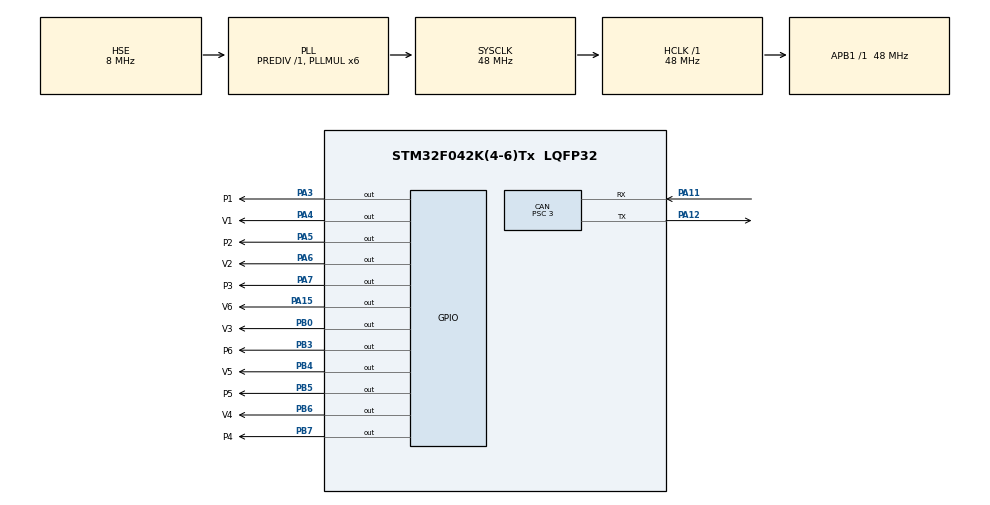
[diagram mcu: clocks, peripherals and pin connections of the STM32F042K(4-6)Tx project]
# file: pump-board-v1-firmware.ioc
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CAN.BS1=CAN_BS1_13TQ
CAN.BS2=CAN_BS2_2TQ
CAN.CalculateTimeQuantum=62.5
CAN.NART=ENABLE
CAN.Prescaler=3
CAN.RFLM=ENABLE
CAN.TXFP=ENABLE
Mcu.Family=STM32F0
Mcu.Name=STM32F042K(4-6)Tx
Mcu.Package=LQFP32
NVIC.CEC_CAN_IRQn=true\:0\:0\:false\:false\:true\:true\:true
PA11.Mode=Master
PA11.Signal=CAN_RX
PA12.Mode=Master
PA12.Signal=CAN_TX
PA13.Mode=Serial_Wire
PA13.Signal=SYS_SWDIO
PA14.Mode=Serial_Wire
PA14.Signal=SYS_SWCLK
PA15.GPIO_Label=V6
PA15.Signal=GPIO_Output
PA3.GPIO_Label=P1
PA3.Signal=GPIO_Output
PA4.GPIO_Label=V1
PA4.Signal=GPIO_Output
PA5.GPIO_Label=P2
PA5.Signal=GPIO_Output
PA6.GPIO_Label=V2
PA6.Signal=GPIO_Output
PA7.GPIO_Label=P3
PA7.Signal=GPIO_Output
PB0.GPIO_Label=V3
PB0.Signal=GPIO_Output
PB3.GPIO_Label=P6
PB3.Signal=GPIO_Output
PB4.GPIO_Label=V5
PB4.Signal=GPIO_Output
PB5.GPIO_Label=P5
PB5.Signal=GPIO_Output
PB6.GPIO_Label=V4
PB6.Signal=GPIO_Output
PB7.GPIO_Label=P4
PB7.Signal=GPIO_Output
PF0-OSC_IN.Mode=HSE-External-Oscillator
PF0-OSC_IN.Signal=RCC_OSC_IN
PF1-OSC_OUT.Mode=HSE-External-Oscillator
PF1-OSC_OUT.Signal=RCC_OSC_OUT
ProjectManager.HeapSize=0x200
ProjectManager.StackSize=0x400
ProjectManager.TargetToolchain=Makefile
RCC.AHBFreq_Value=48000000
RCC.APB1Freq_Value=48000000
RCC.APB1TimFreq_Value=48000000
RCC.HCLKFreq_Value=48000000
RCC.PLLMUL=RCC_PLL_MUL6
RCC.PLLSourceVirtual=RCC_PLLSOURCE_HSE
RCC.SYSCLKFreq_VALUE=48000000
RCC.SYSCLKSource=RCC_SYSCLKSOURCE_PLLCLK
board=custom

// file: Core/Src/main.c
/* USER CODE BEGIN Header */
/**
 ******************************************************************************
 * @file           : main.c
 * @brief          : Firmware for the pump board v1 (v2 tbr)
 ******************************************************************************
 * @attention
 *
 * <h2><center>&copy; Copyright (c) 2020 STMicroelectronics.
 * All rights reserved.</center></h2>
 *
 * This software component is licensed by ST under BSD 3-Clause license,
 * the "License"; You may not use this file except in compliance with the
 * License. You may obtain a copy of the License at:
 *                        opensource.org/licenses/BSD-3-Clause
 *
 ******************************************************************************
 */
/* USER CODE END Header */
#include "main.h"
#include "can.h"
#include "gpio.h"

/* USER CODE BEGIN PV */
CAN_TxHeaderTypeDef Txheader;
CAN_RxHeaderTypeDef Rxheader;
uint32_t Txmailbox;
uint8_t Rxmsg[8];
uint8_t Txmsg[8];
uint8_t msg[8];
uint8_t tstmsg[4]={0x1,0x2,0x3,0x4};
CAN_FilterTypeDef filter;
/* USER CODE END PV */

void SystemClock_Config(void);
/* USER CODE BEGIN PFP */
void conf_filter(void);
void TogglePump(uint16_t pin,uint16_t state);
void ToggleValve(uint16_t pin,uint16_t state);
void HAL_CAN_RxFifo1MsgPendingCallback(CAN_HandleTypeDef *hcan);
void HAL_CAN_RxFifo0MsgPendingCallback(CAN_HandleTypeDef *hcan);
/* USER CODE END PFP */

int main(void)
{

  /* MCU Configuration--------------------------------------------------------*/

  /* Reset of all peripherals, Initializes the Flash interface and the Systick. */
  HAL_Init();

  /* Configure the system clock */
  SystemClock_Config();

  /* Initialize all configured peripherals */
  MX_GPIO_Init();
  MX_CAN_Init();

  /* USER CODE BEGIN 2 */
  conf_filter();
  //HAL_CAN_AddTxMessage(&hcan,&Txheader,tstmsg,&Txmailbox);
  /* USER CODE END 2 */

  /* Infinite loop */
  /* USER CODE BEGIN WHILE */
	while (1)
	{
	//Waiting for interruption on the Canbus
    /* USER CODE END WHILE */
	//HAL_CAN_AddTxMessage(&hcan,&Txheader,tstmsg,&Txmailbox);
// 	HAL_CAN_GetRxMessage(&hcan, CAN_FILTER_FIFO1, &Rxheader,Rxmsg);
// 	uint8_t msg[8];
// 	msg[0]=Rxmsg[0];
// 	msg[1]=Rxmsg[1];
// 	msg[2]=Rxmsg[2];
// 	msg[3]=Rxmsg[3];
// 	msg[4]=Rxmsg[4];
// 	msg[5]=Rxmsg[5];
// 	msg[6]=Rxmsg[6];
// 	msg[7]=Rxmsg[7];
// 	if(msg[0]=='P'&&msg[1]=='b')
// 		TogglePump(msg[2],msg[3]);
// 	if(msg[0]=='V'&&msg[1]=='b')
// 		ToggleValve(msg[2], msg[3]);
// HAL_CAN_GetRxMessage(&hcan, CAN_FILTER_FIFO0, &Rxheader,Rxmsg);
// 	//uint8_t msg[8];
// 	msg[0]=Rxmsg[0];
// 	msg[1]=Rxmsg[1];
// 	msg[2]=Rxmsg[2];
// 	msg[3]=Rxmsg[3];
// 	msg[4]=Rxmsg[4];
// 	msg[5]=Rxmsg[5];
// 	msg[6]=Rxmsg[6];
// 	msg[7]=Rxmsg[7];
// 	if(msg[0]=='P'&&msg[1]=='b')
// 		TogglePump(msg[2],msg[3]);
// 	if(msg[0]=='V'&&msg[1]=='b')
// 		ToggleValve(msg[2], msg[3]);

ToggleValve('0','1');
HAL_Delay(1000);
ToggleValve('0','0');
HAL_CAN_AddTxMessage(&hcan,&Txheader, tstmsg, &Txmailbox);
	}
}

void SystemClock_Config(void)
{
  RCC_OscInitTypeDef RCC_OscInitStruct = {0};
  RCC_ClkInitTypeDef RCC_ClkInitStruct = {0};

  /** Initializes the RCC Oscillators according to the specified parameters
  * in the RCC_OscInitTypeDef structure.
  */
  RCC_OscInitStruct.OscillatorType = RCC_OSCILLATORTYPE_HSE;
  RCC_OscInitStruct.HSEState = RCC_HSE_ON;
  RCC_OscInitStruct.PLL.PLLState = RCC_PLL_ON;
  RCC_OscInitStruct.PLL.PLLSource = RCC_PLLSOURCE_HSE;
  RCC_OscInitStruct.PLL.PLLMUL = RCC_PLL_MUL6;
  RCC_OscInitStruct.PLL.PREDIV = RCC_PREDIV_DIV1;
  if (HAL_RCC_OscConfig(&RCC_OscInitStruct) != HAL_OK)
  {
    Error_Handler();
  }
  /** Initializes the CPU, AHB and APB buses clocks
  */
  RCC_ClkInitStruct.ClockType = RCC_CLOCKTYPE_HCLK|RCC_CLOCKTYPE_SYSCLK
                              |RCC_CLOCKTYPE_PCLK1;
  RCC_ClkInitStruct.SYSCLKSource = RCC_SYSCLKSOURCE_PLLCLK;
  RCC_ClkInitStruct.AHBCLKDivider = RCC_SYSCLK_DIV1;
  RCC_ClkInitStruct.APB1CLKDivider = RCC_HCLK_DIV1;

  if (HAL_RCC_ClockConfig(&RCC_ClkInitStruct, FLASH_LATENCY_1) != HAL_OK)
  {
    Error_Handler();
  }
}

/* USER CODE BEGIN 4 */
void TogglePump(uint16_t pin, uint16_t state){

	switch(state){
	case '0':
		state = GPIO_PIN_RESET;
		break;
	case '1':
		state = GPIO_PIN_SET;
		break;
	}
	Txmsg[0]='R';
	Txmsg[1]='p';
	Txmsg[2]='b';
	switch (pin)
	{
	case '0':

		HAL_GPIO_WritePin(P1_GPIO_Port, P1_Pin, state);
		HAL_Delay(250);
		//HAL_CAN_AddTxMessage(&hcan,&Txheader, Txmsg, &Txmailbox);
		break;
	case '1':

		HAL_GPIO_WritePin(P2_GPIO_Port, P2_Pin, state);
		HAL_Delay(250);
		//HAL_CAN_AddTxMessage(&hcan,&Txheader, Txmsg, &Txmailbox);
		break;
	case '2':

		HAL_GPIO_WritePin(P3_GPIO_Port, P3_Pin, state);
		HAL_Delay(250);
		HAL_CAN_AddTxMessage(&hcan,&Txheader, Txmsg, &Txmailbox);
		break;
	case '3':

		HAL_GPIO_WritePin(P4_GPIO_Port, P4_Pin, state);
		HAL_Delay(250);
		HAL_CAN_AddTxMessage(&hcan,&Txheader, Txmsg, &Txmailbox);
		break;
	case '4':

		HAL_GPIO_WritePin(P5_GPIO_Port, P5_Pin, state);
		HAL_Delay(250);
		HAL_CAN_AddTxMessage(&hcan,&Txheader, Txmsg, &Txmailbox);
		break;
	case '5':

		HAL_GPIO_WritePin(P6_GPIO_Port, P6_Pin, state);
		HAL_Delay(250);
		HAL_CAN_AddTxMessage(&hcan,&Txheader, Txmsg, &Txmailbox);
		break;
	}

}

void ToggleValve(uint16_t pin, uint16_t state){

	switch(state){
	case '0':
		state = GPIO_PIN_RESET;
		break;
	case '1':
		state = GPIO_PIN_SET;
		break;
	}

	switch (pin)
	{
	case '0':
		HAL_GPIO_WritePin(V1_GPIO_Port, V1_Pin, state);
		HAL_Delay(250);
		HAL_CAN_AddTxMessage(&hcan,&Txheader, Txmsg, &Txmailbox);
		break;
	case '1':

		HAL_GPIO_WritePin(V2_GPIO_Port, V2_Pin, state);
		HAL_Delay(250);
		HAL_CAN_AddTxMessage(&hcan,&Txheader, Txmsg, &Txmailbox);
		break;
	case '2':

		HAL_GPIO_WritePin(V3_GPIO_Port, V3_Pin, state);
		HAL_Delay(250);
		HAL_CAN_AddTxMessage(&hcan,&Txheader, Txmsg, &Txmailbox);
		break;
	case '3':

		HAL_GPIO_WritePin(V4_GPIO_Port, V4_Pin, state);
		HAL_Delay(250);
		HAL_CAN_AddTxMessage(&hcan,&Txheader, Txmsg, &Txmailbox);
		break;
	case '4':

		HAL_GPIO_WritePin(V5_GPIO_Port, V5_Pin, state);
		HAL_Delay(250);
		HAL_CAN_AddTxMessage(&hcan,&Txheader, Txmsg, &Txmailbox);
		break;
	case '5':

		HAL_GPIO_WritePin(V6_GPIO_Port, V6_Pin, state);
		HAL_Delay(250);
		HAL_CAN_AddTxMessage(&hcan,&Txheader, Txmsg, &Txmailbox);
		break;

	}

}
void HAL_CAN_RxFifo1MsgPendingCallback(CAN_HandleTypeDef *hcan){
	HAL_CAN_GetRxMessage(hcan, CAN_FILTER_FIFO1, &Rxheader,Rxmsg);
	uint8_t msg[8];
	msg[0]=Rxmsg[0];
	msg[1]=Rxmsg[1];
	msg[2]=Rxmsg[2];
	msg[3]=Rxmsg[3];
	msg[4]=Rxmsg[4];
	msg[5]=Rxmsg[5];
	msg[6]=Rxmsg[6];
	msg[7]=Rxmsg[7];
	TogglePump('0','1');
	if(msg[0]=='P'&&msg[1]=='b')
		TogglePump(msg[2],msg[3]);
	if(msg[0]=='V'&&msg[1]=='b')
		ToggleValve(msg[2], msg[3]);

}
void HAL_CAN_RxFifo0MsgPendingCallback(CAN_HandleTypeDef *hcan){
	HAL_CAN_GetRxMessage(hcan, CAN_FILTER_FIFO0, &Rxheader,Rxmsg);
	uint8_t msg[8];
	msg[0]=Rxmsg[0];
	msg[1]=Rxmsg[1];
	msg[2]=Rxmsg[2];
	msg[3]=Rxmsg[3];
	msg[4]=Rxmsg[4];
	msg[5]=Rxmsg[5];
	msg[6]=Rxmsg[6];
	msg[7]=Rxmsg[7];
	TogglePump('0','1');
	if(msg[0]=='P'&&msg[1]=='b')
		TogglePump(msg[2],msg[3]);
	if(msg[0]=='V'&&msg[1]=='b')
		ToggleValve(msg[2], msg[3]);

}

void conf_filter(void){
	//HAL_CAN_MspInit(&hcan);

	filter.FilterIdHigh=0x400;
	filter.FilterFIFOAssignment=CAN_FILTER_FIFO0||CAN_FILTER_FIFO1;
	filter.FilterMode=CAN_FILTERMODE_IDMASK;
	filter.FilterScale=CAN_FILTERSCALE_32BIT;
	filter.FilterBank=0;
	filter.SlaveStartFilterBank=14;
	filter.FilterActivation=CAN_FILTER_ENABLE;

	Txheader.StdId = 0x500;      // Détermine l'adresse du périphérique au quel la trame est destiné.
	// Si plusieurs périphériques sur le bus comprennent cette adresse dans leur filtre, ils recevront tous la trame.
	Txheader.ExtId = 0x0;       // Adresse étendue, non utilisée dans note cas
	Txheader.RTR = CAN_RTR_DATA; // Précise que la trame contient des données
	Txheader.IDE = CAN_ID_STD;   // Précise que la trame est de type Standard
	Txheader.DLC =3;            // Précise le nombre d'octets de données que la trame transporte ( De 0 à 8 )
	Txheader.TransmitGlobalTime = DISABLE;
	HAL_CAN_ConfigFilter(&hcan,&filter);
}
/* USER CODE END 4 */

void Error_Handler(void)
{
}

/************************ (C) COPYRIGHT STMicroelectronics *****END OF FILE****/
